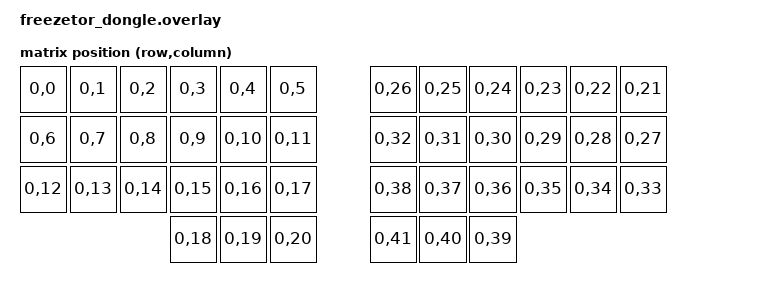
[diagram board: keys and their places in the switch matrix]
#include <dt-bindings/zmk/matrix_transform.h>
#include "freezetor-layouts.dtsi"

// The dongle has no switches of its own. It acts as the split central and
// holds the keymap, so it needs the full 42-key transform + physical layout,
// but its kscan is a no-op mock instead of the direct GPIO matrix.
&physical_layout0 {
    transform = <&default_transform>;
};

/ {
    chosen {
        zmk,kscan = &mock_kscan;
        zmk,physical-layout = &physical_layout0;
    };

    default_transform: keymap_transform_0 {
        compatible = "zmk,matrix-transform";
        columns = <42>;
        rows = <1>;

        map = <
            RC(0,0)  RC(0,1)  RC(0,2)  RC(0,3)  RC(0,4)  RC(0,5)     RC(0,26) RC(0,25) RC(0,24) RC(0,23) RC(0,22) RC(0,21)
            RC(0,6)  RC(0,7)  RC(0,8)  RC(0,9)  RC(0,10) RC(0,11)    RC(0,32) RC(0,31) RC(0,30) RC(0,29) RC(0,28) RC(0,27)
            RC(0,12) RC(0,13) RC(0,14) RC(0,15) RC(0,16) RC(0,17)    RC(0,38) RC(0,37) RC(0,36) RC(0,35) RC(0,34) RC(0,33)
                                       RC(0,18) RC(0,19) RC(0,20)    RC(0,41) RC(0,40) RC(0,39)
        >;
    };

    mock_kscan: kscan_mock {
        compatible = "zmk,kscan-mock";
        columns = <0>;
        rows = <0>;
        events = <0>;
    };
};
